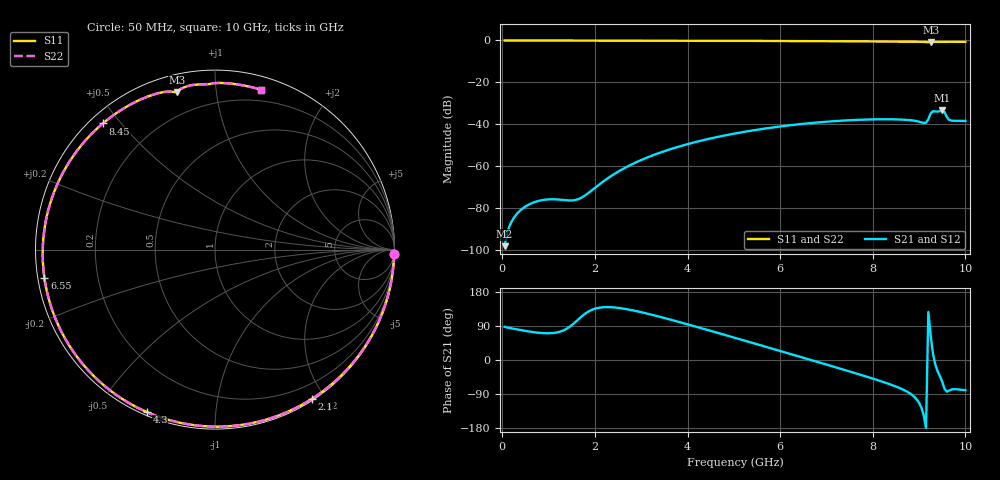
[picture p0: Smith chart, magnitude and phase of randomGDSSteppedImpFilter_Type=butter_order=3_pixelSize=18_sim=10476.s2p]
! freq	dB(S11)	phase(S11)	dB(S12)	phase(S12)
!  dB(S21)	phase(S21)	dB(S22)	phase(S22)
!S-par simulation data
#  GHz  S  DB  R 50
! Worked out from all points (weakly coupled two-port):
!   200 points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, 50 MHz to 10 GHz, reference 50 ohm
!   highest |S21| = -33.33 dB at 9.5 GHz (marker M1); lowest = -97.9 dB at 50 MHz (marker M2)
!   lowest |S11| = -0.9 dB at 9.25 GHz (marker M3), VSWR 19.73, Z = 4.1 + j39.2 ohm
!   |S11| at or under -10 dB: nowhere
!   |S22| runs from -0.9 to 0.0 dB; largest |S21 - S12| = 0
!   S11 on the Smith chart (normalised r, x): 50 MHz: 4, -86; 2.1 GHz: 0.02, -1.85; 4.3 GHz: 0.01, -0.66; 6.55 GHz: 0.02, -0.08; 8.45 GHz: 0.04, +0.45; 10 GHz: 0.10, +1.32
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0.05  -0.01 -1.3  -97.94 87.5  -97.94 87.5  -0.01 -1.3
0.45  -0.02 -12.4  -79.83 77.8  -79.83 77.8  -0.02 -12.4
0.85  -0.03 -23.4  -76.06 71.1  -76.06 71.1  -0.03 -23.4
1.5  -0.05 -41.0  -76.18 91.8  -76.18 91.8  -0.05 -41.0
1.75  -0.06 -47.7  -74.32 118.7  -74.32 118.7  -0.06 -47.7
2.1  -0.07 -56.9  -68.47 138.2  -68.47 138.2  -0.07 -56.9
2.7  -0.09 -72.5  -60.06 133.8  -60.06 133.8  -0.09 -72.5
3.4  -0.12 -90.3  -53.47 114.1  -53.47 114.1  -0.12 -90.3
4.3  -0.16 -112.8  -47.67 83.9  -47.67 83.9  -0.16 -112.8
5.05  -0.20 -131.5  -44.19 57.6  -44.19 57.6  -0.20 -131.5
5.85  -0.26 -151.9  -41.40 29.2  -41.40 29.2  -0.26 -151.8
6.55  -0.32 -170.4  -39.58 4.2  -39.58 4.2  -0.32 -170.4
6.7  -0.34 -174.6  -39.26 -1.2  -39.26 -1.2  -0.34 -174.5
7.55  -0.43 160.8  -37.93 -32.1  -37.93 -32.1  -0.42 160.9
8.35  -0.52 135.1  -37.53 -63.2  -37.53 -63.2  -0.52 135.2
8.45  -0.53 131.6  -37.56 -67.6  -37.56 -67.6  -0.53 131.7
9.15  -0.76 106.0  -39.18 -179.4  -39.18 -179.4  -0.76 106.1
9.25  -0.88 103.5  -34.72 65.0  -34.72 65.0  -0.89 103.7
9.5  -0.70 94.0  -33.33 -57.2  -33.33 -57.2  -0.69 94.1
9.55  -0.70 92.3  -34.08 -76.0  -34.08 -76.0  -0.69 92.4
9.65  -0.64 88.3  -37.82 -80.4  -37.82 -80.4  -0.64 88.4
10  -0.66 74.0  -38.32 -79.8  -38.32 -79.8  -0.66 74.1
